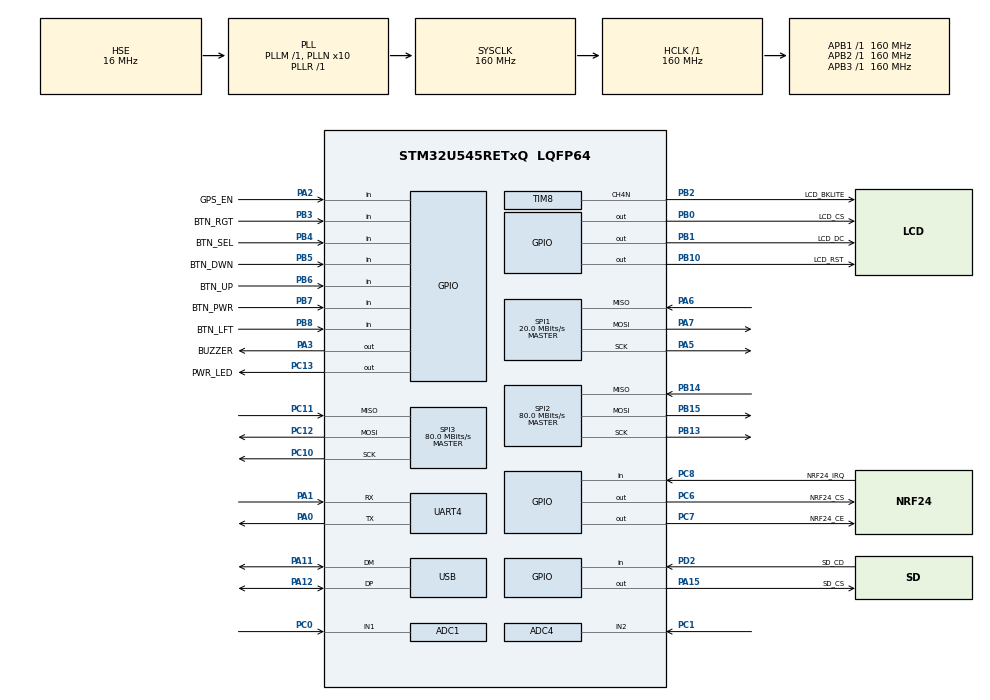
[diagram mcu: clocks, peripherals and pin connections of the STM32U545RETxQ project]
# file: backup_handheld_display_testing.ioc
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ADC1.Channel-6\#ChannelRegularConversion=ADC_CHANNEL_1
ADC1.MonitoredBy-6\#ChannelRegularConversion=__NULL
ADC1.NbrOfConversionFlag=1
ADC1.OffsetNumber-6\#ChannelRegularConversion=ADC_OFFSET_NONE
ADC1.Rank-6\#ChannelRegularConversion=1
ADC1.SamplingTime-6\#ChannelRegularConversion=ADC_SAMPLETIME_5CYCLE
ADC1.master=1
ADC4.Channel-0\#ChannelRegularConversion=ADC_CHANNEL_2
ADC4.NbrOfConversionFlag=1
ADC4.OffsetNumber-0\#ChannelRegularConversion=ADC_OFFSET_NONE
ADC4.Rank-0\#ChannelRegularConversion=1
ADC4.RankArg-0\#ChannelRegularConversion=ADC4_REGULAR_RANK_1
ADC4.SamplingTime-0\#ChannelRegularConversion=ADC4_SAMPLINGTIME_COMMON_1
ADC4.SelectedChannel=ADC_CHANNEL_2
CORTEX_M33_NS.userName=CORTEX_M33
GPDMA1.DATAHANDLING_GPDMACH0=NONE
GPDMA1.DESTBURSTLENGTH_GPDMACH0=1
GPDMA1.DIRECTION_GPDMACH0=DMA_MEMORY_TO_PERIPH
GPDMA1.IPHANDLE_GPDMACH0-SIMPLEREQUEST_GPDMACH0=__NULL
GPDMA1.PRIORITY_GPDMACH0=DMA_LOW_PRIORITY_LOW_WEIGHT
GPDMA1.REQUEST_GPDMACH0=GPDMA1_REQUEST_SPI1_TX
GPDMA1.SRCBURSTLENGTH_GPDMACH0=1
GPDMA1.SRCINC_GPDMACH0=DMA_SINC_INCREMENTED
GPDMA1.TRIGGERPOLARITY_GPDMACH0=DMA_TRIG_POLARITY_MASKED
Mcu.Family=STM32U5
Mcu.Name=STM32U545RETxQ
Mcu.Package=LQFP64
NVIC.GPDMA1_Channel0_IRQn=true\:0\:0\:false\:false\:true\:false\:true\:true
NVIC.PriorityGroup=NVIC_PRIORITYGROUP_4
NVIC.SPI1_IRQn=true\:0\:0\:false\:false\:true\:false\:true\:true
NVIC.TIM6_IRQn=true\:0\:0\:false\:false\:true\:true\:true\:true
PA0.Mode=Asynchronous
PA0.Signal=UART4_TX
PA1.Mode=Asynchronous
PA1.Signal=UART4_RX
PA11.Mode=Host
PA11.Signal=USB_DM
PA12.Mode=Host
PA12.Signal=USB_DP
PA13\ (JTMS/SWDIO).Mode=Serial_Wire
PA13\ (JTMS/SWDIO).Signal=DEBUG_JTMS-SWDIO
PA14\ (JTCK/SWCLK).Mode=Serial_Wire
PA14\ (JTCK/SWCLK).Signal=DEBUG_JTCK-SWCLK
PA15\ (JTDI).GPIO_Label=SD_CS
PA15\ (JTDI).Signal=GPIO_Output
PA2.GPIO_Label=GPS_EN
PA2.Signal=GPIO_Input
PA3.GPIO_Label=BUZZER
PA3.Signal=GPIO_Output
PA5.Mode=Full_Duplex_Master
PA5.Signal=SPI1_SCK
PA6.Mode=Full_Duplex_Master
PA6.Signal=SPI1_MISO
PA7.Mode=Full_Duplex_Master
PA7.Signal=SPI1_MOSI
PB0.GPIO_Label=LCD_CS
PB0.Signal=GPIO_Output
PB1.GPIO_Label=LCD_DC
PB1.Signal=GPIO_Output
PB10.GPIO_Label=LCD_RST
PB10.Signal=GPIO_Output
PB13.Mode=Full_Duplex_Master
PB13.Signal=SPI2_SCK
PB14.Mode=Full_Duplex_Master
PB14.Signal=SPI2_MISO
PB15.Mode=Full_Duplex_Master
PB15.Signal=SPI2_MOSI
PB2.GPIO_Label=LCD_BKLITE
PB2.Mode=PWM Generation4 CH4N
PB2.Signal=TIM8_CH4N
PB3\ (JTDO/TRACESWO).GPIO_Label=BTN_RGT
PB3\ (JTDO/TRACESWO).Signal=GPIO_Input
PB4\ (NJTRST).GPIO_Label=BTN_SEL
PB4\ (NJTRST).Signal=GPIO_Input
PB5.GPIO_Label=BTN_DWN
PB5.Signal=GPIO_Input
PB6.GPIO_Label=BTN_UP
PB6.Signal=GPIO_Input
PB7.GPIO_Label=BTN_PWR
PB7.Signal=GPIO_Input
PB8.GPIO_Label=BTN_LFT
PB8.Signal=GPIO_Input
PC0.Mode=IN1-Single-Ended
PC0.Signal=ADC1_IN1
PC1.Mode=IN2
PC1.Signal=ADC4_IN2
PC10.Mode=Full_Duplex_Master
PC10.Signal=SPI3_SCK
PC11.Mode=Full_Duplex_Master
PC11.Signal=SPI3_MISO
PC12.Mode=Full_Duplex_Master
PC12.Signal=SPI3_MOSI
PC13.GPIO_Label=PWR_LED
PC13.Signal=GPIO_Output
PC6.GPIO_Label=NRF24_CS
PC6.Signal=GPIO_Output
PC7.GPIO_Label=NRF24_CE
PC7.Signal=GPIO_Output
PC8.GPIO_Label=NRF24_IRQ
PC8.Signal=GPIO_Input
PD2.GPIO_Label=SD_CD
PD2.Signal=GPIO_Input
PH0-OSC_IN\ (PH0).Mode=HSE-External-Oscillator
PH0-OSC_IN\ (PH0).Signal=RCC_OSC_IN
PH1-OSC_OUT\ (PH1).Mode=HSE-External-Oscillator
PH1-OSC_OUT\ (PH1).Signal=RCC_OSC_OUT
ProjectManager.HeapSize=0x200
ProjectManager.StackSize=0x400
ProjectManager.TargetToolchain=STM32CubeIDE
RCC.ADCCLockSelection=RCC_ADCDACCLKSOURCE_SYSCLK
RCC.ADCFreq_Value=160000000
RCC.AHBFreq_Value=160000000
RCC.APB1Freq_Value=160000000
RCC.APB1TimFreq_Value=160000000
RCC.APB2Freq_Value=160000000
RCC.APB2TimFreq_Value=160000000
RCC.APB3Freq_Value=160000000
RCC.CK48CLockSelection=RCC_CLK48CLKSOURCE_PLL2
RCC.CortexFreq_Value=160000000
RCC.DACCLockSelectionVirtual=RCC_DAC1CLKSOURCE_LSI
RCC.DACCLockSelectionVirtualString=RCC_DAC1CLKSOURCE_LSI
RCC.EPOD_VALUE=16000000
RCC.HCLKFreq_Value=160000000
RCC.HSE_VALUE=16000000
RCC.HSI48_VALUE=48000000
RCC.HSI_VALUE=16000000
RCC.LSE_VALUE=32768
RCC.LSIDIV_VALUE=32000
RCC.MSI_VALUE=4000000
RCC.PLL1Q=4
RCC.PLL1R=1
RCC.PLL2N=12
RCC.PLL2Q=4
RCC.PLL2Source=RCC_PLLSOURCE_HSE
RCC.PLLN=10
RCC.PLLSourceVirtual=RCC_PLLSOURCE_HSE
RCC.SYSCLKFreq_VALUE=160000000
RCC.SYSCLKSource=RCC_SYSCLKSOURCE_PLLCLK
RCC.USBFreq_Value=48000000
RCC.VCOOutputFreq_Value=160000000
SPI1.BaudRatePrescaler=SPI_BAUDRATEPRESCALER_8
SPI1.CalculateBaudRate=20.0 MBits/s
SPI1.DataSize=SPI_DATASIZE_8BIT
SPI1.Direction=SPI_DIRECTION_2LINES
SPI1.Mode=SPI_MODE_MASTER
SPI1.VirtualType=VM_MASTER
SPI2.BaudRatePrescaler=SPI_BAUDRATEPRESCALER_2
SPI2.CalculateBaudRate=80.0 MBits/s
SPI2.Direction=SPI_DIRECTION_2LINES
SPI2.Mode=SPI_MODE_MASTER
SPI2.VirtualType=VM_MASTER
SPI3.BaudRatePrescaler=SPI_BAUDRATEPRESCALER_2
SPI3.CalculateBaudRate=80.0 MBits/s
SPI3.Direction=SPI_DIRECTION_2LINES
SPI3.Mode=SPI_MODE_MASTER
SPI3.VirtualType=VM_MASTER
STMicroelectronics.X-CUBE-TOUCHGFX.4.23.1.ApplicationCcGraphicsJjApplication=TouchGFXOoGenerator
STMicroelectronics.X-CUBE-TOUCHGFX.4.23.1.tgfx_address1=0x20000000
STMicroelectronics.X-CUBE-TOUCHGFX.4.23.1.tgfx_custom_height=240
STMicroelectronics.X-CUBE-TOUCHGFX.4.23.1.tgfx_custom_width=320
STMicroelectronics.X-CUBE-TOUCHGFX.4.23.1.tgfx_location=Allocate
STMicroelectronics.X-CUBE-TOUCHGFX.4.23.1_IsPackSelfContextualization=true
TIM6.AutoReloadPreload=TIM_AUTORELOAD_PRELOAD_DISABLE
TIM6.PeriodNoDither=9999
TIM6.Prescaler=16000
TIM6.TIM_MasterOutputTrigger=TIM_TRGO_RESET
TIM8.Channel-PWM\ Generation4\ CH4N=TIM_CHANNEL_4
TIM8.OCNIdleState_4=TIM_OCNIDLESTATE_SET
TIM8.PeriodNoDither=1600
VP_CRC_VS_CRC.Mode=CRC_Activate
VP_GPDMA1_VS_GPDMACH0.Mode=SIMPLEREQUEST_GPDMACH0
VP_LPBAMQUEUE_VS_QUEUE.Mode=QUEUEMODE
VP_LPBAM_VS_SIG1.Mode=SmartRun
VP_LPBAM_VS_SIG4.Mode=LPDMA1
VP_MEMORYMAP_VS_MEMORYMAP.Mode=CurAppReg
VP_PWR_VS_SECSignals.Mode=Security/Privilege
VP_PWR_Vdda.Mode=isolationVdda
VP_STMicroelectronics.X-CUBE-TOUCHGFX_VS_GraphicsJjApplication_4.23.1.Mode=GraphicsJjApplication
VP_TIM6_VS_ClockSourceINT.Mode=Enable_Timer
board=custom

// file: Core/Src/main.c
/* USER CODE BEGIN Header */
/**
  ******************************************************************************
  * @file           : main.c
  * @brief          : Main program body
  ******************************************************************************
  * @attention
  *
  * Copyright (c) 2024 STMicroelectronics.
  * All rights reserved.
  *
  * This software is licensed under terms that can be found in the LICENSE file
  * in the root directory of this software component.
  * If no LICENSE file comes with this software, it is provided AS-IS.
  *
  ******************************************************************************
  */
/* USER CODE END Header */
#include "main.h"
#include "app_touchgfx.h"

/* USER CODE BEGIN Includes */
#include <stdbool.h>
#include "ili9341.h"
/* USER CODE END Includes */

ADC_HandleTypeDef hadc1;
ADC_HandleTypeDef hadc4;

CRC_HandleTypeDef hcrc;

SPI_HandleTypeDef hspi1;
SPI_HandleTypeDef hspi2;
SPI_HandleTypeDef hspi3;
DMA_HandleTypeDef handle_GPDMA1_Channel0;

TIM_HandleTypeDef htim6;
TIM_HandleTypeDef htim8;

UART_HandleTypeDef huart4;

HCD_HandleTypeDef hhcd_USB_DRD_FS;

void SystemClock_Config(void);
static void MX_GPIO_Init(void);
static void MX_GPDMA1_Init(void);
static void MX_SPI2_Init(void);
static void MX_SPI3_Init(void);
static void MX_USB_DRD_FS_HCD_Init(void);
static void MX_ADC1_Init(void);
static void MX_ADC4_Init(void);
static void MX_TIM8_Init(void);
static void MX_SPI1_Init(void);
static void MX_CRC_Init(void);
static void MX_UART4_Init(void);
static void MX_TIM6_Init(void);

/* USER CODE BEGIN 0 */
void HAL_SPI_TxCpltCallback(SPI_HandleTypeDef *hspi) {
	// LCD DMA transfer and SPI transmission complete, see if there are more bytes to send and start another DMA transfer if so
	if (hspi == &hspi1) {
		if (framebufferTooBig) {
			framebufferLocation += UINT16_MAX;

			if (bytesLeft > UINT16_MAX) {
				HAL_SPI_Transmit_DMA(&hspi1, (uint8_t*)framebufferLocation, UINT16_MAX);
				bytesLeft -= UINT16_MAX;
				framebufferTooBig = true;
			}
			else {
				HAL_SPI_Transmit_DMA(&hspi1, (uint8_t*)framebufferLocation, bytesLeft);
				bytesLeft = 0;
				framebufferTooBig = false;
			}
		}
		else {
			isTransmitting = false;
		}
	}
}
/* i put this function in stm32u5xx_it.c
extern void signalVSyncWrapper(void);

void HAL_TIM_PeriodElapsedCallback(TIM_HandleTypeDef *htim) {
	if (htim == &htim6) {
		signalVSyncWrapper();	// Tells TouchGFX that the display is ready to receive the next framebuffer
	}
}
*/
/* USER CODE END 0 */

int main(void)
{

  /* MCU Configuration--------------------------------------------------------*/

  /* Reset of all peripherals, Initializes the Flash interface and the Systick. */
  HAL_Init();

  /* Configure the system clock */
  SystemClock_Config();

  /* Initialize all configured peripherals */
  MX_GPIO_Init();
  MX_GPDMA1_Init();
  MX_SPI2_Init();
  MX_SPI3_Init();
  MX_USB_DRD_FS_HCD_Init();
  MX_ADC1_Init();
  MX_ADC4_Init();
  MX_TIM8_Init();
  MX_SPI1_Init();
  MX_CRC_Init();
  MX_UART4_Init();
  MX_TIM6_Init();
  MX_TouchGFX_Init();
  /* USER CODE BEGIN 2 */
  HAL_GPIO_WritePin(PWR_LED_GPIO_Port, PWR_LED_Pin, GPIO_PIN_SET); //set LED pin high to show that program is working

  ILI9341_Init();		// Run initialization function for LCD display

  HAL_TIMEx_PWMN_Start(&htim8, TIM_CHANNEL_4);		// Enable complementary PWM on channel 4 of timer 8 (backlight brightness control)
  HAL_TIM_Base_Start_IT(&htim6);					// Start TIM6 to generate an interrupt every 1 second for calling TouchGFX vsync function

  // Initialization code to test changing the backlight brightness
  uint32_t start = HAL_GetTick();
  uint8_t percent = 0;
  /* USER CODE END 2 */

  /* Infinite loop */
  /* USER CODE BEGIN WHILE */
  while (1)
  {
	 // Code to test changing the backlight brightness
	 if ((HAL_GetTick() - start) >= 30) {
		 if (percent > 100) percent = 0;
		 else percent++;
		 ILI9341_SetDisplayBrightness(&htim8,percent);
		 start = HAL_GetTick();
	 }
    /* USER CODE END WHILE */

  MX_TouchGFX_Process();
  }
}

void SystemClock_Config(void)
{
  RCC_OscInitTypeDef RCC_OscInitStruct = {0};
  RCC_ClkInitTypeDef RCC_ClkInitStruct = {0};

  /** Configure the main internal regulator output voltage
  */
  if (HAL_PWREx_ControlVoltageScaling(PWR_REGULATOR_VOLTAGE_SCALE1) != HAL_OK)
  {
    Error_Handler();
  }

  /** Initializes the CPU, AHB and APB buses clocks
  */
  RCC_OscInitStruct.OscillatorType = RCC_OSCILLATORTYPE_HSE;
  RCC_OscInitStruct.HSEState = RCC_HSE_ON;
  RCC_OscInitStruct.PLL.PLLState = RCC_PLL_ON;
  RCC_OscInitStruct.PLL.PLLSource = RCC_PLLSOURCE_HSE;
  RCC_OscInitStruct.PLL.PLLMBOOST = RCC_PLLMBOOST_DIV1;
  RCC_OscInitStruct.PLL.PLLM = 1;
  RCC_OscInitStruct.PLL.PLLN = 10;
  RCC_OscInitStruct.PLL.PLLP = 2;
  RCC_OscInitStruct.PLL.PLLQ = 4;
  RCC_OscInitStruct.PLL.PLLR = 1;
  RCC_OscInitStruct.PLL.PLLRGE = RCC_PLLVCIRANGE_1;
  RCC_OscInitStruct.PLL.PLLFRACN = 0;
  if (HAL_RCC_OscConfig(&RCC_OscInitStruct) != HAL_OK)
  {
    Error_Handler();
  }

  /** Initializes the CPU, AHB and APB buses clocks
  */
  RCC_ClkInitStruct.ClockType = RCC_CLOCKTYPE_HCLK|RCC_CLOCKTYPE_SYSCLK
                              |RCC_CLOCKTYPE_PCLK1|RCC_CLOCKTYPE_PCLK2
                              |RCC_CLOCKTYPE_PCLK3;
  RCC_ClkInitStruct.SYSCLKSource = RCC_SYSCLKSOURCE_PLLCLK;
  RCC_ClkInitStruct.AHBCLKDivider = RCC_SYSCLK_DIV1;
  RCC_ClkInitStruct.APB1CLKDivider = RCC_HCLK_DIV1;
  RCC_ClkInitStruct.APB2CLKDivider = RCC_HCLK_DIV1;
  RCC_ClkInitStruct.APB3CLKDivider = RCC_HCLK_DIV1;

  if (HAL_RCC_ClockConfig(&RCC_ClkInitStruct, FLASH_LATENCY_4) != HAL_OK)
  {
    Error_Handler();
  }
}

static void MX_ADC1_Init(void)
{

  ADC_ChannelConfTypeDef sConfig = {0};

  /** Common config
  */
  hadc1.Instance = ADC1;
  hadc1.Init.ClockPrescaler = ADC_CLOCK_ASYNC_DIV1;
  hadc1.Init.Resolution = ADC_RESOLUTION_14B;
  hadc1.Init.GainCompensation = 0;
  hadc1.Init.DataAlign = ADC_DATAALIGN_RIGHT;
  hadc1.Init.ScanConvMode = ADC_SCAN_DISABLE;
  hadc1.Init.EOCSelection = ADC_EOC_SINGLE_CONV;
  hadc1.Init.LowPowerAutoWait = DISABLE;
  hadc1.Init.ContinuousConvMode = DISABLE;
  hadc1.Init.NbrOfConversion = 1;
  hadc1.Init.DiscontinuousConvMode = DISABLE;
  hadc1.Init.ExternalTrigConv = ADC_SOFTWARE_START;
  hadc1.Init.ExternalTrigConvEdge = ADC_EXTERNALTRIGCONVEDGE_NONE;
  hadc1.Init.DMAContinuousRequests = DISABLE;
  hadc1.Init.TriggerFrequencyMode = ADC_TRIGGER_FREQ_HIGH;
  hadc1.Init.Overrun = ADC_OVR_DATA_PRESERVED;
  hadc1.Init.LeftBitShift = ADC_LEFTBITSHIFT_NONE;
  hadc1.Init.ConversionDataManagement = ADC_CONVERSIONDATA_DR;
  hadc1.Init.OversamplingMode = DISABLE;
  if (HAL_ADC_Init(&hadc1) != HAL_OK)
  {
    Error_Handler();
  }

  /** Configure Regular Channel
  */
  sConfig.Channel = ADC_CHANNEL_1;
  sConfig.Rank = ADC_REGULAR_RANK_1;
  sConfig.SamplingTime = ADC_SAMPLETIME_5CYCLE;
  sConfig.SingleDiff = ADC_SINGLE_ENDED;
  sConfig.OffsetNumber = ADC_OFFSET_NONE;
  sConfig.Offset = 0;
  if (HAL_ADC_ConfigChannel(&hadc1, &sConfig) != HAL_OK)
  {
    Error_Handler();
  }

}

static void MX_ADC4_Init(void)
{

  ADC_ChannelConfTypeDef sConfig = {0};

  /** Common config
  */
  hadc4.Instance = ADC4;
  hadc4.Init.ClockPrescaler = ADC_CLOCK_ASYNC_DIV1;
  hadc4.Init.Resolution = ADC_RESOLUTION_12B;
  hadc4.Init.DataAlign = ADC_DATAALIGN_RIGHT;
  hadc4.Init.ScanConvMode = ADC4_SCAN_DISABLE;
  hadc4.Init.EOCSelection = ADC_EOC_SINGLE_CONV;
  hadc4.Init.LowPowerAutoPowerOff = ADC_LOW_POWER_NONE;
  hadc4.Init.LowPowerAutoWait = DISABLE;
  hadc4.Init.ContinuousConvMode = DISABLE;
  hadc4.Init.NbrOfConversion = 1;
  hadc4.Init.DiscontinuousConvMode = DISABLE;
  hadc4.Init.ExternalTrigConv = ADC_SOFTWARE_START;
  hadc4.Init.ExternalTrigConvEdge = ADC_EXTERNALTRIGCONVEDGE_NONE;
  hadc4.Init.DMAContinuousRequests = DISABLE;
  hadc4.Init.TriggerFrequencyMode = ADC_TRIGGER_FREQ_LOW;
  hadc4.Init.Overrun = ADC_OVR_DATA_PRESERVED;
  hadc4.Init.SamplingTimeCommon1 = ADC4_SAMPLETIME_1CYCLE_5;
  hadc4.Init.SamplingTimeCommon2 = ADC4_SAMPLETIME_1CYCLE_5;
  hadc4.Init.OversamplingMode = DISABLE;
  if (HAL_ADC_Init(&hadc4) != HAL_OK)
  {
    Error_Handler();
  }

  /** Configure Regular Channel
  */
  sConfig.Channel = ADC_CHANNEL_2;
  sConfig.Rank = ADC4_REGULAR_RANK_1;
  sConfig.SamplingTime = ADC4_SAMPLINGTIME_COMMON_1;
  sConfig.OffsetNumber = ADC_OFFSET_NONE;
  sConfig.Offset = 0;
  if (HAL_ADC_ConfigChannel(&hadc4, &sConfig) != HAL_OK)
  {
    Error_Handler();
  }

}

static void MX_CRC_Init(void)
{

  hcrc.Instance = CRC;
  hcrc.Init.DefaultPolynomialUse = DEFAULT_POLYNOMIAL_ENABLE;
  hcrc.Init.DefaultInitValueUse = DEFAULT_INIT_VALUE_ENABLE;
  hcrc.Init.InputDataInversionMode = CRC_INPUTDATA_INVERSION_NONE;
  hcrc.Init.OutputDataInversionMode = CRC_OUTPUTDATA_INVERSION_DISABLE;
  hcrc.InputDataFormat = CRC_INPUTDATA_FORMAT_BYTES;
  if (HAL_CRC_Init(&hcrc) != HAL_OK)
  {
    Error_Handler();
  }

}

static void MX_GPDMA1_Init(void)
{

  /* Peripheral clock enable */
  __HAL_RCC_GPDMA1_CLK_ENABLE();

  /* GPDMA1 interrupt Init */
    HAL_NVIC_SetPriority(GPDMA1_Channel0_IRQn, 0, 0);
    HAL_NVIC_EnableIRQ(GPDMA1_Channel0_IRQn);

}

static void MX_SPI1_Init(void)
{

  SPI_AutonomousModeConfTypeDef HAL_SPI_AutonomousMode_Cfg_Struct = {0};

  /* SPI1 parameter configuration*/
  hspi1.Instance = SPI1;
  hspi1.Init.Mode = SPI_MODE_MASTER;
  hspi1.Init.Direction = SPI_DIRECTION_2LINES;
  hspi1.Init.DataSize = SPI_DATASIZE_8BIT;
  hspi1.Init.CLKPolarity = SPI_POLARITY_LOW;
  hspi1.Init.CLKPhase = SPI_PHASE_1EDGE;
  hspi1.Init.NSS = SPI_NSS_SOFT;
  hspi1.Init.BaudRatePrescaler = SPI_BAUDRATEPRESCALER_8;
  hspi1.Init.FirstBit = SPI_FIRSTBIT_MSB;
  hspi1.Init.TIMode = SPI_TIMODE_DISABLE;
  hspi1.Init.CRCCalculation = SPI_CRCCALCULATION_DISABLE;
  hspi1.Init.CRCPolynomial = 0x7;
  hspi1.Init.NSSPMode = SPI_NSS_PULSE_ENABLE;
  hspi1.Init.NSSPolarity = SPI_NSS_POLARITY_LOW;
  hspi1.Init.FifoThreshold = SPI_FIFO_THRESHOLD_01DATA;
  hspi1.Init.MasterSSIdleness = SPI_MASTER_SS_IDLENESS_00CYCLE;
  hspi1.Init.MasterInterDataIdleness = SPI_MASTER_INTERDATA_IDLENESS_00CYCLE;
  hspi1.Init.MasterReceiverAutoSusp = SPI_MASTER_RX_AUTOSUSP_DISABLE;
  hspi1.Init.MasterKeepIOState = SPI_MASTER_KEEP_IO_STATE_DISABLE;
  hspi1.Init.IOSwap = SPI_IO_SWAP_DISABLE;
  hspi1.Init.ReadyMasterManagement = SPI_RDY_MASTER_MANAGEMENT_INTERNALLY;
  hspi1.Init.ReadyPolarity = SPI_RDY_POLARITY_HIGH;
  if (HAL_SPI_Init(&hspi1) != HAL_OK)
  {
    Error_Handler();
  }
  HAL_SPI_AutonomousMode_Cfg_Struct.TriggerState = SPI_AUTO_MODE_DISABLE;
  HAL_SPI_AutonomousMode_Cfg_Struct.TriggerSelection = SPI_GRP1_GPDMA_CH0_TCF_TRG;
  HAL_SPI_AutonomousMode_Cfg_Struct.TriggerPolarity = SPI_TRIG_POLARITY_RISING;
  if (HAL_SPIEx_SetConfigAutonomousMode(&hspi1, &HAL_SPI_AutonomousMode_Cfg_Struct) != HAL_OK)
  {
    Error_Handler();
  }

}

static void MX_SPI2_Init(void)
{

  SPI_AutonomousModeConfTypeDef HAL_SPI_AutonomousMode_Cfg_Struct = {0};

  /* SPI2 parameter configuration*/
  hspi2.Instance = SPI2;
  hspi2.Init.Mode = SPI_MODE_MASTER;
  hspi2.Init.Direction = SPI_DIRECTION_2LINES;
  hspi2.Init.DataSize = SPI_DATASIZE_4BIT;
  hspi2.Init.CLKPolarity = SPI_POLARITY_LOW;
  hspi2.Init.CLKPhase = SPI_PHASE_1EDGE;
  hspi2.Init.NSS = SPI_NSS_SOFT;
  hspi2.Init.BaudRatePrescaler = SPI_BAUDRATEPRESCALER_2;
  hspi2.Init.FirstBit = SPI_FIRSTBIT_MSB;
  hspi2.Init.TIMode = SPI_TIMODE_DISABLE;
  hspi2.Init.CRCCalculation = SPI_CRCCALCULATION_DISABLE;
  hspi2.Init.CRCPolynomial = 0x7;
  hspi2.Init.NSSPMode = SPI_NSS_PULSE_ENABLE;
  hspi2.Init.NSSPolarity = SPI_NSS_POLARITY_LOW;
  hspi2.Init.FifoThreshold = SPI_FIFO_THRESHOLD_01DATA;
  hspi2.Init.MasterSSIdleness = SPI_MASTER_SS_IDLENESS_00CYCLE;
  hspi2.Init.MasterInterDataIdleness = SPI_MASTER_INTERDATA_IDLENESS_00CYCLE;
  hspi2.Init.MasterReceiverAutoSusp = SPI_MASTER_RX_AUTOSUSP_DISABLE;
  hspi2.Init.MasterKeepIOState = SPI_MASTER_KEEP_IO_STATE_DISABLE;
  hspi2.Init.IOSwap = SPI_IO_SWAP_DISABLE;
  hspi2.Init.ReadyMasterManagement = SPI_RDY_MASTER_MANAGEMENT_INTERNALLY;
  hspi2.Init.ReadyPolarity = SPI_RDY_POLARITY_HIGH;
  if (HAL_SPI_Init(&hspi2) != HAL_OK)
  {
    Error_Handler();
  }
  HAL_SPI_AutonomousMode_Cfg_Struct.TriggerState = SPI_AUTO_MODE_DISABLE;
  HAL_SPI_AutonomousMode_Cfg_Struct.TriggerSelection = SPI_GRP1_GPDMA_CH0_TCF_TRG;
  HAL_SPI_AutonomousMode_Cfg_Struct.TriggerPolarity = SPI_TRIG_POLARITY_RISING;
  if (HAL_SPIEx_SetConfigAutonomousMode(&hspi2, &HAL_SPI_AutonomousMode_Cfg_Struct) != HAL_OK)
  {
    Error_Handler();
  }

}

static void MX_SPI3_Init(void)
{

  SPI_AutonomousModeConfTypeDef HAL_SPI_AutonomousMode_Cfg_Struct = {0};

  /* SPI3 parameter configuration*/
  hspi3.Instance = SPI3;
  hspi3.Init.Mode = SPI_MODE_MASTER;
  hspi3.Init.Direction = SPI_DIRECTION_2LINES;
  hspi3.Init.DataSize = SPI_DATASIZE_8BIT;
  hspi3.Init.CLKPolarity = SPI_POLARITY_LOW;
  hspi3.Init.CLKPhase = SPI_PHASE_1EDGE;
  hspi3.Init.NSS = SPI_NSS_SOFT;
  hspi3.Init.BaudRatePrescaler = SPI_BAUDRATEPRESCALER_2;
  hspi3.Init.FirstBit = SPI_FIRSTBIT_MSB;
  hspi3.Init.TIMode = SPI_TIMODE_DISABLE;
  hspi3.Init.CRCCalculation = SPI_CRCCALCULATION_DISABLE;
  hspi3.Init.CRCPolynomial = 0x7;
  hspi3.Init.NSSPMode = SPI_NSS_PULSE_ENABLE;
  hspi3.Init.NSSPolarity = SPI_NSS_POLARITY_LOW;
  hspi3.Init.FifoThreshold = SPI_FIFO_THRESHOLD_01DATA;
  hspi3.Init.MasterSSIdleness = SPI_MASTER_SS_IDLENESS_00CYCLE;
  hspi3.Init.MasterInterDataIdleness = SPI_MASTER_INTERDATA_IDLENESS_00CYCLE;
  hspi3.Init.MasterReceiverAutoSusp = SPI_MASTER_RX_AUTOSUSP_DISABLE;
  hspi3.Init.MasterKeepIOState = SPI_MASTER_KEEP_IO_STATE_DISABLE;
  hspi3.Init.IOSwap = SPI_IO_SWAP_DISABLE;
  hspi3.Init.ReadyMasterManagement = SPI_RDY_MASTER_MANAGEMENT_INTERNALLY;
  hspi3.Init.ReadyPolarity = SPI_RDY_POLARITY_HIGH;
  if (HAL_SPI_Init(&hspi3) != HAL_OK)
  {
    Error_Handler();
  }
  HAL_SPI_AutonomousMode_Cfg_Struct.TriggerState = SPI_AUTO_MODE_DISABLE;
  HAL_SPI_AutonomousMode_Cfg_Struct.TriggerSelection = SPI_GRP2_LPDMA_CH0_TCF_TRG;
  HAL_SPI_AutonomousMode_Cfg_Struct.TriggerPolarity = SPI_TRIG_POLARITY_RISING;
  if (HAL_SPIEx_SetConfigAutonomousMode(&hspi3, &HAL_SPI_AutonomousMode_Cfg_Struct) != HAL_OK)
  {
    Error_Handler();
  }

}

static void MX_TIM6_Init(void)
{

  TIM_MasterConfigTypeDef sMasterConfig = {0};

  htim6.Instance = TIM6;
  htim6.Init.Prescaler = 16000;
  htim6.Init.CounterMode = TIM_COUNTERMODE_UP;
  htim6.Init.Period = 9999;
  htim6.Init.AutoReloadPreload = TIM_AUTORELOAD_PRELOAD_DISABLE;
  if (HAL_TIM_Base_Init(&htim6) != HAL_OK)
  {
    Error_Handler();
  }
  sMasterConfig.MasterOutputTrigger = TIM_TRGO_RESET;
  sMasterConfig.MasterSlaveMode = TIM_MASTERSLAVEMODE_DISABLE;
  if (HAL_TIMEx_MasterConfigSynchronization(&htim6, &sMasterConfig) != HAL_OK)
  {
    Error_Handler();
  }

}

static void MX_TIM8_Init(void)
{

  TIM_MasterConfigTypeDef sMasterConfig = {0};
  TIM_OC_InitTypeDef sConfigOC = {0};
  TIM_BreakDeadTimeConfigTypeDef sBreakDeadTimeConfig = {0};

  htim8.Instance = TIM8;
  htim8.Init.Prescaler = 0;
  htim8.Init.CounterMode = TIM_COUNTERMODE_UP;
  htim8.Init.Period = 1600;
  htim8.Init.ClockDivision = TIM_CLOCKDIVISION_DIV1;
  htim8.Init.RepetitionCounter = 0;
  htim8.Init.AutoReloadPreload = TIM_AUTORELOAD_PRELOAD_ENABLE;
  if (HAL_TIM_PWM_Init(&htim8) != HAL_OK)
  {
    Error_Handler();
  }
  sMasterConfig.MasterOutputTrigger = TIM_TRGO_RESET;
  sMasterConfig.MasterOutputTrigger2 = TIM_TRGO2_RESET;
  sMasterConfig.MasterSlaveMode = TIM_MASTERSLAVEMODE_DISABLE;
  if (HAL_TIMEx_MasterConfigSynchronization(&htim8, &sMasterConfig) != HAL_OK)
  {
    Error_Handler();
  }
  sConfigOC.OCMode = TIM_OCMODE_PWM1;
  sConfigOC.Pulse = 800;
  sConfigOC.OCPolarity = TIM_OCPOLARITY_HIGH;
  sConfigOC.OCNPolarity = TIM_OCNPOLARITY_HIGH;
  sConfigOC.OCFastMode = TIM_OCFAST_DISABLE;
  sConfigOC.OCIdleState = TIM_OCIDLESTATE_RESET;
  sConfigOC.OCNIdleState = TIM_OCNIDLESTATE_RESET;
  if (HAL_TIM_PWM_ConfigChannel(&htim8, &sConfigOC, TIM_CHANNEL_4) != HAL_OK)
  {
    Error_Handler();
  }
  sBreakDeadTimeConfig.OffStateRunMode = TIM_OSSR_DISABLE;
  sBreakDeadTimeConfig.OffStateIDLEMode = TIM_OSSI_DISABLE;
  sBreakDeadTimeConfig.LockLevel = TIM_LOCKLEVEL_OFF;
  sBreakDeadTimeConfig.DeadTime = 0;
  sBreakDeadTimeConfig.BreakState = TIM_BREAK_DISABLE;
  sBreakDeadTimeConfig.BreakPolarity = TIM_BREAKPOLARITY_HIGH;
  sBreakDeadTimeConfig.BreakFilter = 0;
  sBreakDeadTimeConfig.BreakAFMode = TIM_BREAK_AFMODE_INPUT;
  sBreakDeadTimeConfig.Break2State = TIM_BREAK2_DISABLE;
  sBreakDeadTimeConfig.Break2Polarity = TIM_BREAK2POLARITY_HIGH;
  sBreakDeadTimeConfig.Break2Filter = 0;
  sBreakDeadTimeConfig.Break2AFMode = TIM_BREAK_AFMODE_INPUT;
  sBreakDeadTimeConfig.AutomaticOutput = TIM_AUTOMATICOUTPUT_DISABLE;
  if (HAL_TIMEx_ConfigBreakDeadTime(&htim8, &sBreakDeadTimeConfig) != HAL_OK)
  {
    Error_Handler();
  }
  HAL_TIM_MspPostInit(&htim8);

}

static void MX_UART4_Init(void)
{

  huart4.Instance = UART4;
  huart4.Init.BaudRate = 115200;
  huart4.Init.WordLength = UART_WORDLENGTH_8B;
  huart4.Init.StopBits = UART_STOPBITS_1;
  huart4.Init.Parity = UART_PARITY_NONE;
  huart4.Init.Mode = UART_MODE_TX_RX;
  huart4.Init.HwFlowCtl = UART_HWCONTROL_NONE;
  huart4.Init.OverSampling = UART_OVERSAMPLING_16;
  huart4.Init.OneBitSampling = UART_ONE_BIT_SAMPLE_DISABLE;
  huart4.Init.ClockPrescaler = UART_PRESCALER_DIV1;
  huart4.AdvancedInit.AdvFeatureInit = UART_ADVFEATURE_NO_INIT;
  if (HAL_UART_Init(&huart4) != HAL_OK)
  {
    Error_Handler();
  }
  if (HAL_UARTEx_SetTxFifoThreshold(&huart4, UART_TXFIFO_THRESHOLD_1_8) != HAL_OK)
  {
    Error_Handler();
  }
  if (HAL_UARTEx_SetRxFifoThreshold(&huart4, UART_RXFIFO_THRESHOLD_1_8) != HAL_OK)
  {
    Error_Handler();
  }
  if (HAL_UARTEx_DisableFifoMode(&huart4) != HAL_OK)
  {
    Error_Handler();
  }

}

static void MX_USB_DRD_FS_HCD_Init(void)
{

  hhcd_USB_DRD_FS.Instance = USB_DRD_FS;
  hhcd_USB_DRD_FS.Init.dev_endpoints = 8;
  hhcd_USB_DRD_FS.Init.Host_channels = 8;
  hhcd_USB_DRD_FS.Init.speed = HCD_SPEED_FULL;
  hhcd_USB_DRD_FS.Init.phy_itface = HCD_PHY_EMBEDDED;
  hhcd_USB_DRD_FS.Init.Sof_enable = DISABLE;
  hhcd_USB_DRD_FS.Init.low_power_enable = DISABLE;
  hhcd_USB_DRD_FS.Init.vbus_sensing_enable = DISABLE;
  hhcd_USB_DRD_FS.Init.bulk_doublebuffer_enable = DISABLE;
  hhcd_USB_DRD_FS.Init.iso_singlebuffer_enable = DISABLE;
  if (HAL_HCD_Init(&hhcd_USB_DRD_FS) != HAL_OK)
  {
    Error_Handler();
  }

}

static void MX_GPIO_Init(void)
{
  GPIO_InitTypeDef GPIO_InitStruct = {0};

  /* GPIO Ports Clock Enable */
  __HAL_RCC_GPIOC_CLK_ENABLE();
  __HAL_RCC_GPIOH_CLK_ENABLE();
  __HAL_RCC_GPIOA_CLK_ENABLE();
  __HAL_RCC_GPIOB_CLK_ENABLE();
  __HAL_RCC_GPIOD_CLK_ENABLE();

  /*Configure GPIO pin Output Level */
  HAL_GPIO_WritePin(GPIOC, PWR_LED_Pin|NRF24_CS_Pin|NRF24_CE_Pin, GPIO_PIN_RESET);

  /*Configure GPIO pin Output Level */
  HAL_GPIO_WritePin(GPIOA, BUZZER_Pin|SD_CS_Pin, GPIO_PIN_RESET);

  /*Configure GPIO pin Output Level */
  HAL_GPIO_WritePin(GPIOB, LCD_CS_Pin|LCD_DC_Pin|LCD_RST_Pin, GPIO_PIN_RESET);

  /*Configure GPIO pins : PWR_LED_Pin NRF24_CS_Pin NRF24_CE_Pin */
  GPIO_InitStruct.Pin = PWR_LED_Pin|NRF24_CS_Pin|NRF24_CE_Pin;
  GPIO_InitStruct.Mode = GPIO_MODE_OUTPUT_PP;
  GPIO_InitStruct.Pull = GPIO_NOPULL;
  GPIO_InitStruct.Speed = GPIO_SPEED_FREQ_LOW;
  HAL_GPIO_Init(GPIOC, &GPIO_InitStruct);

  /*Configure GPIO pin : GPS_EN_Pin */
  GPIO_InitStruct.Pin = GPS_EN_Pin;
  GPIO_InitStruct.Mode = GPIO_MODE_INPUT;
  GPIO_InitStruct.Pull = GPIO_NOPULL;
  HAL_GPIO_Init(GPS_EN_GPIO_Port, &GPIO_InitStruct);

  /*Configure GPIO pins : BUZZER_Pin SD_CS_Pin */
  GPIO_InitStruct.Pin = BUZZER_Pin|SD_CS_Pin;
  GPIO_InitStruct.Mode = GPIO_MODE_OUTPUT_PP;
  GPIO_InitStruct.Pull = GPIO_NOPULL;
  GPIO_InitStruct.Speed = GPIO_SPEED_FREQ_LOW;
  HAL_GPIO_Init(GPIOA, &GPIO_InitStruct);

  /*Configure GPIO pins : LCD_CS_Pin LCD_DC_Pin LCD_RST_Pin */
  GPIO_InitStruct.Pin = LCD_CS_Pin|LCD_DC_Pin|LCD_RST_Pin;
  GPIO_InitStruct.Mode = GPIO_MODE_OUTPUT_PP;
  GPIO_InitStruct.Pull = GPIO_NOPULL;
  GPIO_InitStruct.Speed = GPIO_SPEED_FREQ_LOW;
  HAL_GPIO_Init(GPIOB, &GPIO_InitStruct);

  /*Configure GPIO pin : NRF24_IRQ_Pin */
  GPIO_InitStruct.Pin = NRF24_IRQ_Pin;
  GPIO_InitStruct.Mode = GPIO_MODE_INPUT;
  GPIO_InitStruct.Pull = GPIO_NOPULL;
  HAL_GPIO_Init(NRF24_IRQ_GPIO_Port, &GPIO_InitStruct);

  /*Configure GPIO pin : SD_CD_Pin */
  GPIO_InitStruct.Pin = SD_CD_Pin;
  GPIO_InitStruct.Mode = GPIO_MODE_INPUT;
  GPIO_InitStruct.Pull = GPIO_NOPULL;
  HAL_GPIO_Init(SD_CD_GPIO_Port, &GPIO_InitStruct);

  /*Configure GPIO pins : BTN_RGT_Pin BTN_SEL_Pin BTN_DWN_Pin BTN_UP_Pin
                           BTN_PWR_Pin BTN_LFT_Pin */
  GPIO_InitStruct.Pin = BTN_RGT_Pin|BTN_SEL_Pin|BTN_DWN_Pin|BTN_UP_Pin
                          |BTN_PWR_Pin|BTN_LFT_Pin;
  GPIO_InitStruct.Mode = GPIO_MODE_INPUT;
  GPIO_InitStruct.Pull = GPIO_NOPULL;
  HAL_GPIO_Init(GPIOB, &GPIO_InitStruct);

}

void Error_Handler(void)
{
  __disable_irq();
  while (1)
  {
  }
}
